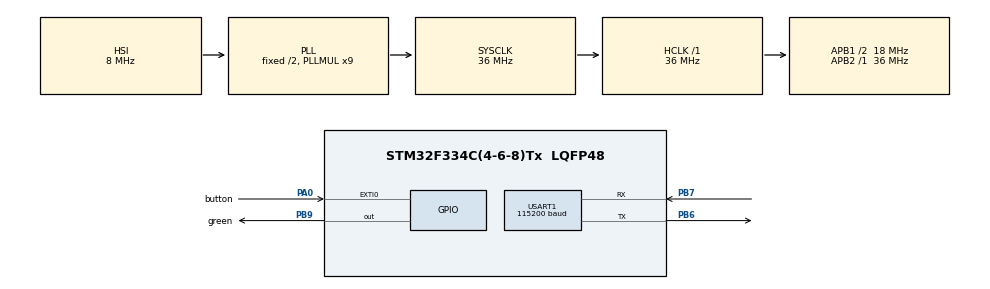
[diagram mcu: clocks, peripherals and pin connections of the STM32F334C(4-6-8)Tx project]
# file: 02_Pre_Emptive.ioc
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FREERTOS.Tasks01=defaultTask,0,128,StartDefaultTask,Default,NULL,Dynamic,NULL,NULL
FREERTOS.configUSE_NEWLIB_REENTRANT=1
Mcu.Family=STM32F3
Mcu.Name=STM32F334C(4-6-8)Tx
Mcu.Package=LQFP48
NVIC.EXTI0_IRQn=true\:5\:0\:false\:false\:true\:true\:true\:true\:true
NVIC.PriorityGroup=NVIC_PRIORITYGROUP_4
PA0.GPIO_Label=button
PA0.Signal=GPXTI0
PB6.Mode=Asynchronous
PB6.Signal=USART1_TX
PB7.Mode=Asynchronous
PB7.Signal=USART1_RX
PB9.GPIO_Label=green
PB9.Signal=GPIO_Output
ProjectManager.HeapSize=0x200
ProjectManager.StackSize=0x400
ProjectManager.TargetToolchain=STM32CubeIDE
RCC.AHBFreq_Value=36000000
RCC.APB1CLKDivider=RCC_HCLK_DIV2
RCC.APB1Freq_Value=18000000
RCC.APB1TimFreq_Value=36000000
RCC.APB2Freq_Value=36000000
RCC.APB2TimFreq_Value=36000000
RCC.CortexFreq_Value=36000000
RCC.HCLKFreq_Value=36000000
RCC.HSE_VALUE=8000000
RCC.HSI_VALUE=8000000
RCC.LSE_VALUE=32768
RCC.PLLMUL=RCC_PLL_MUL9
RCC.SYSCLKFreq_VALUE=36000000
RCC.SYSCLKSourceVirtual=RCC_SYSCLKSOURCE_PLLCLK
USART1.BaudRate=115200
USART1.VirtualMode-Asynchronous=VM_ASYNC
VP_FREERTOS_VS_CMSIS_V1.Mode=CMSIS_V1
board=STM32F3348-DISCO

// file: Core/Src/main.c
/* USER CODE BEGIN Header */
/**
  ******************************************************************************
  * @file           : main.c
  * @brief          : Main program body
  ******************************************************************************
  * @attention
  *
  * Copyright (c) 2023 STMicroelectronics.
  * All rights reserved.
  *
  * This software is licensed under terms that can be found in the LICENSE file
  * in the root directory of this software component.
  * If no LICENSE file comes with this software, it is provided AS-IS.
  *
  ******************************************************************************
  */
/* USER CODE END Header */
#include "main.h"
//#include "cmsis_os.h"

/* USER CODE BEGIN Includes */

#include "FreeRTOS.h"
#include "task.h"
#include "timers.h"
#include "queue.h"
#include "semphr.h"
#include "event_groups.h"
/* USER CODE END Includes */

UART_HandleTypeDef huart1;

//osThreadId defaultTaskHandle;

void SystemClock_Config(void);
static void MX_GPIO_Init(void);
static void MX_USART1_UART_Init(void);
//void StartDefaultTask(void const * argument);

/* USER CODE BEGIN PFP */
void Task1_Handler(void *param);
void Task2_Handler(void *param);
void Task3_Handler(void *param);
void Task4_Handler(void *param);
/* USER CODE END PFP */

int main(void)
{

  /* MCU Configuration--------------------------------------------------------*/

  /* Reset of all peripherals, Initializes the Flash interface and the Systick. */
  HAL_Init();

  /* Configure the system clock */
  SystemClock_Config();

  /* Initialize all configured peripherals */
  MX_GPIO_Init();
  MX_USART1_UART_Init();

  /* Create the thread(s) */
  /* definition and creation of defaultTask */
//  osThreadDef(defaultTask, StartDefaultTask, osPriorityNormal, 0, 128);
//  defaultTaskHandle = osThreadCreate(osThread(defaultTask), NULL);

  /* USER CODE BEGIN RTOS_THREADS */
  xTaskCreate(Task1_Handler,"Task-1",30,NULL,4,NULL);
  xTaskCreate(Task2_Handler,"Task-2",30,NULL,3,NULL);
  xTaskCreate(Task3_Handler,"Task-3",30,NULL,2,NULL);
  xTaskCreate(Task4_Handler,"Task-4",30,NULL,1,NULL);
  vTaskStartScheduler();
  /* USER CODE END RTOS_THREADS */

  /* Start scheduler */
//  osKernelStart();

  /* We should never get here as control is now taken by the scheduler */
  /* Infinite loop */
  while (1)
  {

    /* USER CODE BEGIN 3 */
//	  HAL_UART_Transmit(&huart1, (uint8_t*)"Hi There\r\n", sizeof("Hi There\r\n")-1, HAL_MAX_DELAY);
//	  HAL_Delay(1000);
  }
  /* USER CODE END 3 */
}

void SystemClock_Config(void)
{
  RCC_OscInitTypeDef RCC_OscInitStruct = {0};
  RCC_ClkInitTypeDef RCC_ClkInitStruct = {0};
  RCC_PeriphCLKInitTypeDef PeriphClkInit = {0};

  /** Initializes the RCC Oscillators according to the specified parameters
  * in the RCC_OscInitTypeDef structure.
  */
  RCC_OscInitStruct.OscillatorType = RCC_OSCILLATORTYPE_HSI;
  RCC_OscInitStruct.HSIState = RCC_HSI_ON;
  RCC_OscInitStruct.HSICalibrationValue = RCC_HSICALIBRATION_DEFAULT;
  RCC_OscInitStruct.PLL.PLLState = RCC_PLL_ON;
  RCC_OscInitStruct.PLL.PLLSource = RCC_PLLSOURCE_HSI;
  RCC_OscInitStruct.PLL.PLLMUL = RCC_PLL_MUL9;
  if (HAL_RCC_OscConfig(&RCC_OscInitStruct) != HAL_OK)
  {
    Error_Handler();
  }

  /** Initializes the CPU, AHB and APB buses clocks
  */
  RCC_ClkInitStruct.ClockType = RCC_CLOCKTYPE_HCLK|RCC_CLOCKTYPE_SYSCLK
                              |RCC_CLOCKTYPE_PCLK1|RCC_CLOCKTYPE_PCLK2;
  RCC_ClkInitStruct.SYSCLKSource = RCC_SYSCLKSOURCE_PLLCLK;
  RCC_ClkInitStruct.AHBCLKDivider = RCC_SYSCLK_DIV1;
  RCC_ClkInitStruct.APB1CLKDivider = RCC_HCLK_DIV2;
  RCC_ClkInitStruct.APB2CLKDivider = RCC_HCLK_DIV1;

  if (HAL_RCC_ClockConfig(&RCC_ClkInitStruct, FLASH_LATENCY_1) != HAL_OK)
  {
    Error_Handler();
  }
  PeriphClkInit.PeriphClockSelection = RCC_PERIPHCLK_USART1;
  PeriphClkInit.Usart1ClockSelection = RCC_USART1CLKSOURCE_PCLK1;
  if (HAL_RCCEx_PeriphCLKConfig(&PeriphClkInit) != HAL_OK)
  {
    Error_Handler();
  }
}

static void MX_USART1_UART_Init(void)
{

  huart1.Instance = USART1;
  huart1.Init.BaudRate = 115200;
  huart1.Init.WordLength = UART_WORDLENGTH_8B;
  huart1.Init.StopBits = UART_STOPBITS_1;
  huart1.Init.Parity = UART_PARITY_NONE;
  huart1.Init.Mode = UART_MODE_TX_RX;
  huart1.Init.HwFlowCtl = UART_HWCONTROL_NONE;
  huart1.Init.OverSampling = UART_OVERSAMPLING_16;
  huart1.Init.OneBitSampling = UART_ONE_BIT_SAMPLE_DISABLE;
  huart1.AdvancedInit.AdvFeatureInit = UART_ADVFEATURE_NO_INIT;
  if (HAL_UART_Init(&huart1) != HAL_OK)
  {
    Error_Handler();
  }

}

static void MX_GPIO_Init(void)
{
  GPIO_InitTypeDef GPIO_InitStruct = {0};

  /* GPIO Ports Clock Enable */
  __HAL_RCC_GPIOA_CLK_ENABLE();
  __HAL_RCC_GPIOB_CLK_ENABLE();

  /*Configure GPIO pin Output Level */
  HAL_GPIO_WritePin(green_GPIO_Port, green_Pin, GPIO_PIN_RESET);

  /*Configure GPIO pin : button_Pin */
  GPIO_InitStruct.Pin = button_Pin;
  GPIO_InitStruct.Mode = GPIO_MODE_IT_RISING;
  GPIO_InitStruct.Pull = GPIO_NOPULL;
  HAL_GPIO_Init(button_GPIO_Port, &GPIO_InitStruct);

  /*Configure GPIO pin : green_Pin */
  GPIO_InitStruct.Pin = green_Pin;
  GPIO_InitStruct.Mode = GPIO_MODE_OUTPUT_PP;
  GPIO_InitStruct.Pull = GPIO_NOPULL;
  GPIO_InitStruct.Speed = GPIO_SPEED_FREQ_LOW;
  HAL_GPIO_Init(green_GPIO_Port, &GPIO_InitStruct);

  /* EXTI interrupt init*/
  HAL_NVIC_SetPriority(EXTI0_IRQn, 5, 0);
  HAL_NVIC_EnableIRQ(EXTI0_IRQn);

}

/* USER CODE BEGIN 4 */
void Task1_Handler(void *param)
{
	while(1)
	{
		HAL_UART_Transmit(&huart1, (uint8_t*)"Task1: Running\r\n", sizeof("Task1: Running\r\n")-1, HAL_MAX_DELAY);
		vTaskDelay(1000);
	}
}
void Task2_Handler(void *param)
{
	while(1)
	{
		HAL_UART_Transmit(&huart1, (uint8_t*)"Task2: Running\r\n", sizeof("Task2: Running\r\n")-1, HAL_MAX_DELAY);
		vTaskDelay(1000);
	}
}

void Task3_Handler(void *param)
{
	while(1)
	{
		HAL_UART_Transmit(&huart1, (uint8_t*)"Task3: Running\r\n", sizeof("Task3: Running\r\n")-1, HAL_MAX_DELAY);
		vTaskDelay(1000);
	}
}
void Task4_Handler(void *param)
{
	while(1)
	{
		HAL_UART_Transmit(&huart1, (uint8_t*)"Task4: Running\r\n", sizeof("Task4: Running\r\n")-1, HAL_MAX_DELAY);
		vTaskDelay(1000);
	}
}
void HAL_GPIO_EXTI_Callback(uint16_t GPIO_Pin)
{
  if(GPIO_Pin == button_Pin)
  {
    HAL_GPIO_TogglePin(green_GPIO_Port,green_Pin);
    HAL_UART_Transmit(&huart1, (uint8_t*)"ISR: Triggered\r\n", sizeof("ISR: Triggered\r\n")-1, HAL_MAX_DELAY);
  }
}
/* USER CODE END 4 */

//void StartDefaultTask(void const * argument)
//{
//  /* USER CODE BEGIN 5 */
//  /* Infinite loop */
//  for(;;)
//  {
//    osDelay(1);
//  }
//  /* USER CODE END 5 */
//}

void Error_Handler(void)
{
  __disable_irq();
  while (1)
  {
  }
}
